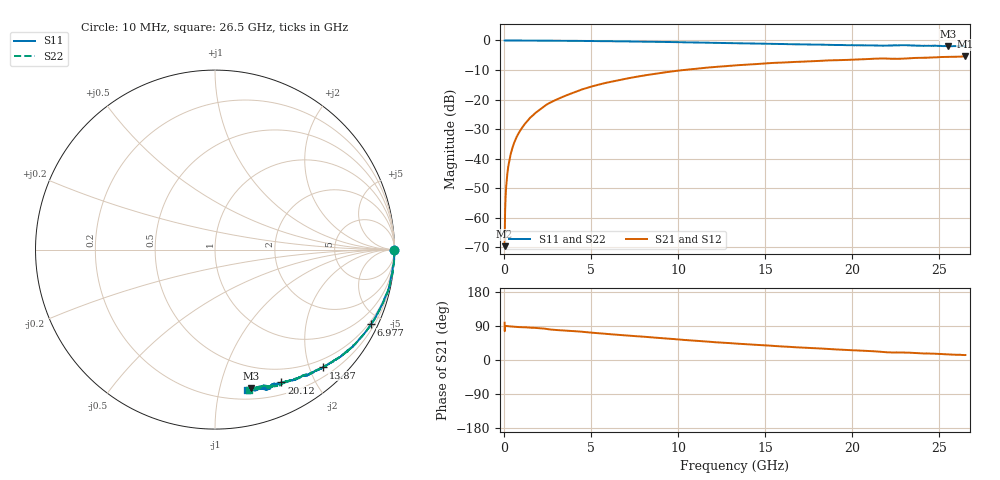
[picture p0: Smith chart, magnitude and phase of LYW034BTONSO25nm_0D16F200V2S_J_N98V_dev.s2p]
!Keysight Technologies,N5222B,MY61253708,A.15.00.15
!Date: Wednesday, June 19, 2024 09:36:45
!Correction: S11(C  2-Port  )
!S21(C  2-Port  )
!S12(C  2-Port  )
!S22(C  2-Port  )
!S2P File: Measurements: S11, S21, S12, S22:
# Hz S  RI  R 50
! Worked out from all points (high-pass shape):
!   2651 points, 10 MHz to 26.5 GHz, reference 50 ohm
!   highest |S21| = -5.39 dB at 26.5 GHz (marker M1); lowest = -69.6 dB at 10 MHz (marker M2)
!   |S21| within 3 dB of the highest: 13.41 GHz to end of sweep
!   lowest |S11| = -2.0 dB at 25.5 GHz (marker M3), VSWR 8.78, Z = 14.9 - j62.4 ohm
!   |S11| at or under -10 dB: nowhere
!   |S22| runs from -1.9 to 0.0 dB; largest |S21 - S12| = 0.0066
!   S11 on the Smith chart (normalised r, x): 10 MHz: open; 6.977 GHz: 0.37, -4.36; 13.87 GHz: 0.35, -2.22; 20.12 GHz: 0.33, -1.57; 26.5 GHz: 0.27, -1.22
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1e7  0.9984 -0.00223  -4.84e-05 0.000326  4.31e-05 0.000461  0.9985 -0.00107
6.997736e7  1 -0.00513  4.41e-05 0.00233  7e-05 0.00237  0.9997 -0.00479
1.599434e8  0.9999 -0.0115  6.86e-05 0.00533  7.04e-05 0.00537  0.9996 -0.0108
2.099245e8  0.9997 -0.0143  0.0001 0.00698  8.18e-05 0.00702  0.9994 -0.0137
2.699019e8  0.9997 -0.0186  0.00017 0.009  0.000143 0.00901  0.9999 -0.0178
3.698642e8  0.9997 -0.0256  0.000293 0.0123  0.000358 0.0124  0.9993 -0.0249
4.998151e8  0.9988 -0.0339  0.000573 0.0166  0.000563 0.0167  0.9992 -0.0329
6.597547e8  0.9983 -0.0439  0.0009 0.0218  0.000932 0.0221  0.9985 -0.0433
8.49683e8  0.998 -0.0568  0.00153 0.028  0.00156 0.0283  0.9979 -0.0566
1.459453e9  0.9905 -0.0985  0.00365 0.0485  0.00373 0.0487  0.9929 -0.095
2.349117e9  0.9816 -0.1534  0.0104 0.0787  0.0106 0.0793  0.9828 -0.1539
3.208792e9  0.9702 -0.2084  0.0214 0.1044  0.0216 0.1052  0.97 -0.2081
4.428332e9  0.9419 -0.2813  0.0388 0.1421  0.0394 0.1431  0.9431 -0.2793
6.97737e9  0.869 -0.4172  0.0959 0.2038  0.0972 0.2048  0.869 -0.4187
8.846664e9  0.8013 -0.5029  0.1461 0.237  0.1479 0.2378  0.8016 -0.5023
1.3255e10  0.6249 -0.6423  0.2737 0.2606  0.2763 0.2603  0.6268 -0.6415
1.387477e10  0.6011 -0.6568  0.2896 0.2591  0.2922 0.2579  0.5999 -0.6559
1.767333e10  0.4526 -0.7207  0.3796 0.2322  0.3834 0.2304  0.4611 -0.7184
2.012241e10  0.3696 -0.7402  0.4275 0.2056  0.4311 0.2034  0.3824 -0.7414
2.209166e10  0.3177 -0.7528  0.4617 0.1698  0.4638 0.1667  0.3097 -0.7586
2.550038e10  0.1991 -0.7702  0.5104 0.1331  0.512 0.1326  0.2178 -0.7724
2.65e10  0.1798 -0.7844  0.5239 0.122  0.5235 0.1179  0.1912 -0.7819
